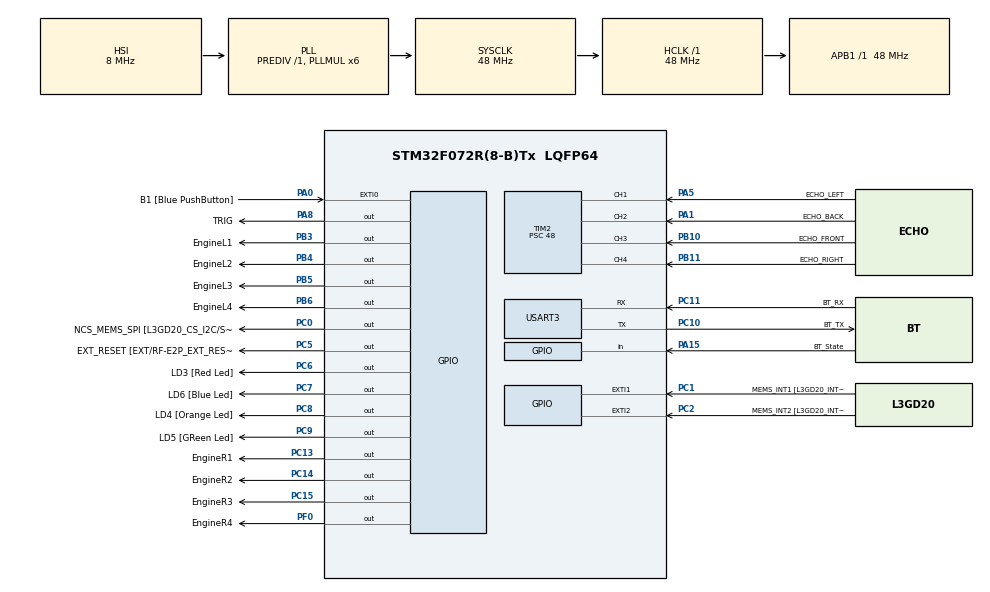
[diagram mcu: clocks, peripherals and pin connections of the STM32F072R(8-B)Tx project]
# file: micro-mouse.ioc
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Dma.Request0=USART3_TX
Dma.USART3_TX.0.Direction=DMA_MEMORY_TO_PERIPH
Dma.USART3_TX.0.Instance=DMA1_Channel2
Dma.USART3_TX.0.MemDataAlignment=DMA_MDATAALIGN_BYTE
Dma.USART3_TX.0.MemInc=DMA_MINC_ENABLE
Dma.USART3_TX.0.Mode=DMA_NORMAL
Dma.USART3_TX.0.PeriphDataAlignment=DMA_PDATAALIGN_BYTE
Dma.USART3_TX.0.PeriphInc=DMA_PINC_DISABLE
Dma.USART3_TX.0.Priority=DMA_PRIORITY_LOW
Mcu.Family=STM32F0
Mcu.Name=STM32F072R(8-B)Tx
Mcu.Package=LQFP64
NVIC.DMA1_Channel2_3_IRQn=true\:0\:0\:false\:false\:true\:false\:true
NVIC.TIM1_BRK_UP_TRG_COM_IRQn=true\:0\:0\:false\:false\:true\:true\:true
NVIC.TIM2_IRQn=true\:0\:0\:false\:false\:true\:true\:true
NVIC.USART3_4_IRQn=true\:0\:0\:false\:false\:true\:true\:true
PA0.GPIO_Label=B1 [Blue PushButton]
PA0.GPIO_ModeDefaultEXTI=GPIO_MODE_EVT_RISING
PA0.Signal=GPXTI0
PA1.GPIO_Label=ECHO_BACK
PA1.Signal=S_TIM2_CH2
PA11.GPIO_Label=USBF4_DM
PA11.Signal=USB_DM
PA12.GPIO_Label=USBF4_DP
PA12.Signal=USB_DP
PA13.GPIO_Label=SWDIO
PA13.Signal=SYS_SWDIO
PA14.GPIO_Label=SWCLK
PA14.Signal=SYS_SWCLK
PA15.GPIO_Label=BT_State
PA15.Signal=GPIO_Input
PA2.Signal=TSC_G1_IO3
PA3.Signal=TSC_G1_IO4
PA5.GPIO_Label=ECHO_LEFT
PA5.Signal=S_TIM2_CH1_ETR
PA6.Signal=TSC_G2_IO3
PA7.Signal=TSC_G2_IO4
PA8.GPIO_Label=TRIG
PA8.Signal=GPIO_Output
PB0.Signal=TSC_G3_IO2
PB1.Signal=TSC_G3_IO3
PB10.GPIO_Label=ECHO_FRONT
PB10.Signal=S_TIM2_CH3
PB11.GPIO_Label=ECHO_RIGHT
PB11.Signal=S_TIM2_CH4
PB13.GPIO_Label=SPI2_SCK [L3GD20_SCL/SPC]
PB13.Signal=SPI2_SCK
PB14.GPIO_Label=SPI2_MISO [L3GD20_SDO]
PB14.Signal=SPI2_MISO
PB15.GPIO_Label=SPI2_MOSI [L3GD20_SDA/SDI]
PB15.Signal=SPI2_MOSI
PB3.GPIO_Label=EngineL1
PB3.Signal=GPIO_Output
PB4.GPIO_Label=EngineL2
PB4.Signal=GPIO_Output
PB5.GPIO_Label=EngineL3
PB5.Signal=GPIO_Output
PB6.GPIO_Label=EngineL4
PB6.Signal=GPIO_Output
PC0.GPIO_Label=NCS_MEMS_SPI [L3GD20_CS_I2C/SPI]
PC0.Signal=GPIO_Output
PC1.GPIO_Label=MEMS_INT1 [L3GD20_INT1]
PC1.GPIO_ModeDefaultEXTI=GPIO_MODE_EVT_RISING
PC1.Signal=GPXTI1
PC10.GPIO_Label=BT_TX
PC10.Mode=Asynchronous
PC10.Signal=USART3_TX
PC11.GPIO_Label=BT_RX
PC11.Mode=Asynchronous
PC11.Signal=USART3_RX
PC13.GPIO_Label=EngineR1
PC13.Signal=GPIO_Output
PC14-OSC32_IN.GPIO_Label=EngineR2
PC14-OSC32_IN.Signal=GPIO_Output
PC15-OSC32_OUT.GPIO_Label=EngineR3
PC15-OSC32_OUT.Signal=GPIO_Output
PC2.GPIO_Label=MEMS_INT2 [L3GD20_INT2]
PC2.GPIO_ModeDefaultEXTI=GPIO_MODE_EVT_RISING
PC2.Signal=GPXTI2
PC5.GPIO_Label=EXT_RESET [EXT/RF-E2P_EXT_RESET]
PC5.Signal=GPIO_Output
PC6.GPIO_Label=LD3 [Red Led]
PC6.Signal=GPIO_Output
PC7.GPIO_Label=LD6 [Blue Led]
PC7.Signal=GPIO_Output
PC8.GPIO_Label=LD4 [Orange Led]
PC8.Signal=GPIO_Output
PC9.GPIO_Label=LD5 [GReen Led]
PC9.Signal=GPIO_Output
PF0-OSC_IN.GPIO_Label=EngineR4
PF0-OSC_IN.Signal=GPIO_Output
ProjectManager.HeapSize=0x200
ProjectManager.StackSize=0x400
ProjectManager.TargetToolchain=Other Toolchains (GPDSC)
RCC.AHBFreq_Value=48000000
RCC.APB1Freq_Value=48000000
RCC.APB1TimFreq_Value=48000000
RCC.HCLKFreq_Value=48000000
RCC.PLLMUL=RCC_PLL_MUL6
RCC.SYSCLKFreq_VALUE=48000000
RCC.SYSCLKSource=RCC_SYSCLKSOURCE_PLLCLK
SH.S_TIM2_CH1_ETR.0=TIM2_CH1,Input_Capture1_from_TI1
SH.S_TIM2_CH2.0=TIM2_CH2,Input_Capture2_from_TI2
SH.S_TIM2_CH3.0=TIM2_CH3,Input_Capture3_from_TI3
SH.S_TIM2_CH4.0=TIM2_CH4,Input_Capture4_from_TI4
TIM1.Channel-PWM\ Generation1\ CH1=TIM_CHANNEL_1
TIM2.Channel-Input_Capture1_from_TI1=TIM_CHANNEL_1
TIM2.Channel-Input_Capture2_from_TI2=TIM_CHANNEL_2
TIM2.Channel-Input_Capture3_from_TI3=TIM_CHANNEL_3
TIM2.Channel-Input_Capture4_from_TI4=TIM_CHANNEL_4
TIM2.Prescaler=48
USART3.VirtualMode-Asynchronous=VM_ASYNC
VP_TIM1_VS_ClockSourceINT.Mode=Internal
VP_TIM2_VS_ClockSourceINT.Mode=Internal
board=STM32F072B-DISCO

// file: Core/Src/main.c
/* USER CODE BEGIN Header */
/**
  ******************************************************************************
  * @file           : main.c
  * @brief          : Main program body
  ******************************************************************************
  * @attention
  *
  * <h2><center>&copy; Copyright (c) 2022 STMicroelectronics.
  * All rights reserved.</center></h2>
  *
  * This software component is licensed by ST under BSD 3-Clause license,
  * the "License"; You may not use this file except in compliance with the
  * License. You may obtain a copy of the License at:
  *                        opensource.org/licenses/BSD-3-Clause
  *
  ******************************************************************************
  */
/* USER CODE END Header */
#include "main.h"

/* USER CODE BEGIN Includes */
#include <Drivers/HCSR04.h>
/* USER CODE END Includes */

TIM_HandleTypeDef htim1;
TIM_HandleTypeDef htim2;

UART_HandleTypeDef huart3;
DMA_HandleTypeDef hdma_usart3_tx;

/* USER CODE BEGIN PV */
unsigned char uart_rx_buf[30] = "empty";
int rx_cnt = 0;
volatile uint8_t move = 0;
/* USER CODE END PV */

void SystemClock_Config(void);
static void MX_GPIO_Init(void);
static void MX_DMA_Init(void);
static void MX_TIM1_Init(void);
static void MX_USART3_UART_Init(void);
static void MX_TIM2_Init(void);

/* USER CODE BEGIN 0 */
int strcmp(char *str1, char *str2)
{
  int i=0;
  while ((str1[i] != 0) && (str2[i] != 0)) {
    if (str1[i] != str2[i])
      return 0;
    i++;
  }

  if (i!=0)
    return 1;
  if (str1[i] == str2[i])
    return 1;
  else
    return 0;
}

void process_uart(struct __UART_HandleTypeDef *huart)
{
  const int length_str = sizeof("You said: ");
  static unsigned char buf[50] = "You said: ";
  static int i = length_str;

  while (huart->Instance->ISR & USART_ISR_RXNE) {
    buf[i] = huart->Instance->RDR;
    i++;
  }

  if (buf[i-1] == '\r') {
    char* cmd_string = &buf[length_str];
    if (strcmp(cmd_string, "light")) {
      char* arg = cmd_string + sizeof("light");

      if (*arg == 0)
        HAL_GPIO_TogglePin(GPIOC, LD3_Pin | LD4_Pin | LD5_Pin | LD6_Pin);
      else if (strcmp(arg, "on"))
        HAL_GPIO_WritePin(GPIOC, LD3_Pin | LD4_Pin | LD5_Pin | LD6_Pin, 1);
      else if (strcmp(arg, "off"))
        HAL_GPIO_WritePin(GPIOC, LD3_Pin | LD4_Pin | LD5_Pin | LD6_Pin, 0);
    }
    else if (strcmp(cmd_string, "move")) {
      move = 1;
    }

    buf[i] = '\n';
    i++;
    buf[i] = '\r';
    i++;

    HAL_UART_Transmit(huart, buf, i, 1000);

    i = length_str;
    for (int j=i;j<sizeof(buf);j++)
      buf[j] = 0;
  }

  //HAL_UART_Transmit_DMA(huart, buf, sizeof(i));

}
/* USER CODE END 0 */

int main(void)
{

  /* MCU Configuration--------------------------------------------------------*/

  /* Reset of all peripherals, Initializes the Flash interface and the Systick. */
  HAL_Init();

  /* Configure the system clock */
  SystemClock_Config();

  /* Initialize all configured peripherals */
  MX_GPIO_Init();
  MX_DMA_Init();
  MX_TIM1_Init();
  MX_USART3_UART_Init();
  MX_TIM2_Init();
  /* USER CODE BEGIN 2 */
  __HAL_TIM_SET_PRESCALER(&htim1, SystemCoreClock / 1000000 - 1);
  __HAL_TIM_SetAutoreload(&htim1, 1500 - 1);
  HAL_TIM_Base_Start_IT(&htim1);
  huart3.RxISR = process_uart;

  unsigned char lfcr[] = "\n\r";
  unsigned char msg[] = "\n\rWall-E ready\n\r";
  HAL_UART_Transmit_DMA(&huart3, msg, sizeof(msg));

  HAL_TIM_Base_Start(&htim2);
  HCSR04_Init(&htim2);
  /* USER CODE END 2 */

  /* Infinite loop */
  /* USER CODE BEGIN WHILE */
  uint32_t distances[4];
  while (1)
  {
    /*if (move)
    {
      rotate(100000);
      move = 0;
    }*/
    HCSR04_Measure();
    HAL_Delay(500);
    HCSR04_Read(distances);
    /* USER CODE END WHILE */

  }
}

void SystemClock_Config(void)
{
  RCC_OscInitTypeDef RCC_OscInitStruct = {0};
  RCC_ClkInitTypeDef RCC_ClkInitStruct = {0};

  /** Initializes the RCC Oscillators according to the specified parameters
  * in the RCC_OscInitTypeDef structure.
  */
  RCC_OscInitStruct.OscillatorType = RCC_OSCILLATORTYPE_HSI;
  RCC_OscInitStruct.HSIState = RCC_HSI_ON;
  RCC_OscInitStruct.HSICalibrationValue = RCC_HSICALIBRATION_DEFAULT;
  RCC_OscInitStruct.PLL.PLLState = RCC_PLL_ON;
  RCC_OscInitStruct.PLL.PLLSource = RCC_PLLSOURCE_HSI;
  RCC_OscInitStruct.PLL.PLLMUL = RCC_PLL_MUL6;
  RCC_OscInitStruct.PLL.PREDIV = RCC_PREDIV_DIV1;
  if (HAL_RCC_OscConfig(&RCC_OscInitStruct) != HAL_OK)
  {
    Error_Handler();
  }
  /** Initializes the CPU, AHB and APB buses clocks
  */
  RCC_ClkInitStruct.ClockType = RCC_CLOCKTYPE_HCLK|RCC_CLOCKTYPE_SYSCLK
                              |RCC_CLOCKTYPE_PCLK1;
  RCC_ClkInitStruct.SYSCLKSource = RCC_SYSCLKSOURCE_PLLCLK;
  RCC_ClkInitStruct.AHBCLKDivider = RCC_SYSCLK_DIV1;
  RCC_ClkInitStruct.APB1CLKDivider = RCC_HCLK_DIV1;

  if (HAL_RCC_ClockConfig(&RCC_ClkInitStruct, FLASH_LATENCY_1) != HAL_OK)
  {
    Error_Handler();
  }
}

static void MX_TIM1_Init(void)
{

  TIM_ClockConfigTypeDef sClockSourceConfig = {0};
  TIM_MasterConfigTypeDef sMasterConfig = {0};

  htim1.Instance = TIM1;
  htim1.Init.Prescaler = 0;
  htim1.Init.CounterMode = TIM_COUNTERMODE_UP;
  htim1.Init.Period = 65535;
  htim1.Init.ClockDivision = TIM_CLOCKDIVISION_DIV1;
  htim1.Init.RepetitionCounter = 0;
  htim1.Init.AutoReloadPreload = TIM_AUTORELOAD_PRELOAD_DISABLE;
  if (HAL_TIM_Base_Init(&htim1) != HAL_OK)
  {
    Error_Handler();
  }
  sClockSourceConfig.ClockSource = TIM_CLOCKSOURCE_INTERNAL;
  if (HAL_TIM_ConfigClockSource(&htim1, &sClockSourceConfig) != HAL_OK)
  {
    Error_Handler();
  }
  sMasterConfig.MasterOutputTrigger = TIM_TRGO_RESET;
  sMasterConfig.MasterSlaveMode = TIM_MASTERSLAVEMODE_DISABLE;
  if (HAL_TIMEx_MasterConfigSynchronization(&htim1, &sMasterConfig) != HAL_OK)
  {
    Error_Handler();
  }

}

static void MX_TIM2_Init(void)
{

  TIM_ClockConfigTypeDef sClockSourceConfig = {0};
  TIM_MasterConfigTypeDef sMasterConfig = {0};
  TIM_IC_InitTypeDef sConfigIC = {0};

  htim2.Instance = TIM2;
  htim2.Init.Prescaler = 48;
  htim2.Init.CounterMode = TIM_COUNTERMODE_UP;
  htim2.Init.Period = 4294967295;
  htim2.Init.ClockDivision = TIM_CLOCKDIVISION_DIV1;
  htim2.Init.AutoReloadPreload = TIM_AUTORELOAD_PRELOAD_DISABLE;
  if (HAL_TIM_Base_Init(&htim2) != HAL_OK)
  {
    Error_Handler();
  }
  sClockSourceConfig.ClockSource = TIM_CLOCKSOURCE_INTERNAL;
  if (HAL_TIM_ConfigClockSource(&htim2, &sClockSourceConfig) != HAL_OK)
  {
    Error_Handler();
  }
  if (HAL_TIM_IC_Init(&htim2) != HAL_OK)
  {
    Error_Handler();
  }
  sMasterConfig.MasterOutputTrigger = TIM_TRGO_RESET;
  sMasterConfig.MasterSlaveMode = TIM_MASTERSLAVEMODE_DISABLE;
  if (HAL_TIMEx_MasterConfigSynchronization(&htim2, &sMasterConfig) != HAL_OK)
  {
    Error_Handler();
  }
  sConfigIC.ICPolarity = TIM_INPUTCHANNELPOLARITY_RISING;
  sConfigIC.ICSelection = TIM_ICSELECTION_DIRECTTI;
  sConfigIC.ICPrescaler = TIM_ICPSC_DIV1;
  sConfigIC.ICFilter = 0;
  if (HAL_TIM_IC_ConfigChannel(&htim2, &sConfigIC, TIM_CHANNEL_1) != HAL_OK)
  {
    Error_Handler();
  }
  if (HAL_TIM_IC_ConfigChannel(&htim2, &sConfigIC, TIM_CHANNEL_2) != HAL_OK)
  {
    Error_Handler();
  }
  if (HAL_TIM_IC_ConfigChannel(&htim2, &sConfigIC, TIM_CHANNEL_3) != HAL_OK)
  {
    Error_Handler();
  }
  if (HAL_TIM_IC_ConfigChannel(&htim2, &sConfigIC, TIM_CHANNEL_4) != HAL_OK)
  {
    Error_Handler();
  }

}

static void MX_USART3_UART_Init(void)
{

  huart3.Instance = USART3;
  huart3.Init.BaudRate = 38400;
  huart3.Init.WordLength = UART_WORDLENGTH_8B;
  huart3.Init.StopBits = UART_STOPBITS_1;
  huart3.Init.Parity = UART_PARITY_NONE;
  huart3.Init.Mode = UART_MODE_TX_RX;
  huart3.Init.HwFlowCtl = UART_HWCONTROL_NONE;
  huart3.Init.OverSampling = UART_OVERSAMPLING_16;
  huart3.Init.OneBitSampling = UART_ONE_BIT_SAMPLE_DISABLE;
  huart3.AdvancedInit.AdvFeatureInit = UART_ADVFEATURE_NO_INIT;
  if (HAL_UART_Init(&huart3) != HAL_OK)
  {
    Error_Handler();
  }
  /* USER CODE BEGIN USART3_Init 2 */
  unsigned int trigger_char = 0x0D; // carriage return
  CLEAR_BIT(huart3.Instance->CR1, USART_CR1_UE); // Reception must be disabled to set ADD bits
  SET_BIT(huart3.Instance->CR2, USART_CR2_ADDM7); // Set Address detection to 7bit
  huart3.Instance->CR2 |= trigger_char << USART_CR2_ADD_Pos;
  SET_BIT(huart3.Instance->CR1, USART_CR1_UE); // And enable Reception again
  SET_BIT(huart3.Instance->CR1, USART_CR1_CMIE); // Interrupt on trigger_char
  SET_BIT(huart3.Instance->CR1, USART_CR1_RXNEIE); // Interrupt on Reception
  /* USER CODE END USART3_Init 2 */

}

static void MX_DMA_Init(void)
{

  /* DMA controller clock enable */
  __HAL_RCC_DMA1_CLK_ENABLE();

  /* DMA interrupt init */
  /* DMA1_Channel2_3_IRQn interrupt configuration */
  HAL_NVIC_SetPriority(DMA1_Channel2_3_IRQn, 0, 0);
  HAL_NVIC_EnableIRQ(DMA1_Channel2_3_IRQn);

}

static void MX_GPIO_Init(void)
{
  GPIO_InitTypeDef GPIO_InitStruct = {0};

  /* GPIO Ports Clock Enable */
  __HAL_RCC_GPIOC_CLK_ENABLE();
  __HAL_RCC_GPIOF_CLK_ENABLE();
  __HAL_RCC_GPIOA_CLK_ENABLE();
  __HAL_RCC_GPIOB_CLK_ENABLE();

  /*Configure GPIO pin Output Level */
  HAL_GPIO_WritePin(GPIOC, EngineR1_Pin|EngineR2_Pin|EngineR3_Pin|NCS_MEMS_SPI_Pin
                          |EXT_RESET_Pin|LD3_Pin|LD6_Pin|LD4_Pin
                          |LD5_Pin, GPIO_PIN_RESET);

  /*Configure GPIO pin Output Level */
  HAL_GPIO_WritePin(EngineR4_GPIO_Port, EngineR4_Pin, GPIO_PIN_RESET);

  /*Configure GPIO pin Output Level */
  HAL_GPIO_WritePin(TRIG_GPIO_Port, TRIG_Pin, GPIO_PIN_RESET);

  /*Configure GPIO pin Output Level */
  HAL_GPIO_WritePin(GPIOB, EngineL1_Pin|EngineL2_Pin|EngineL3_Pin|EngineL4_Pin, GPIO_PIN_RESET);

  /*Configure GPIO pins : EngineR1_Pin EngineR2_Pin EngineR3_Pin NCS_MEMS_SPI_Pin
                           EXT_RESET_Pin LD3_Pin LD6_Pin LD4_Pin
                           LD5_Pin */
  GPIO_InitStruct.Pin = EngineR1_Pin|EngineR2_Pin|EngineR3_Pin|NCS_MEMS_SPI_Pin
                          |EXT_RESET_Pin|LD3_Pin|LD6_Pin|LD4_Pin
                          |LD5_Pin;
  GPIO_InitStruct.Mode = GPIO_MODE_OUTPUT_PP;
  GPIO_InitStruct.Pull = GPIO_NOPULL;
  GPIO_InitStruct.Speed = GPIO_SPEED_FREQ_LOW;
  HAL_GPIO_Init(GPIOC, &GPIO_InitStruct);

  /*Configure GPIO pin : EngineR4_Pin */
  GPIO_InitStruct.Pin = EngineR4_Pin;
  GPIO_InitStruct.Mode = GPIO_MODE_OUTPUT_PP;
  GPIO_InitStruct.Pull = GPIO_NOPULL;
  GPIO_InitStruct.Speed = GPIO_SPEED_FREQ_LOW;
  HAL_GPIO_Init(EngineR4_GPIO_Port, &GPIO_InitStruct);

  /*Configure GPIO pins : MEMS_INT1_Pin MEMS_INT2_Pin */
  GPIO_InitStruct.Pin = MEMS_INT1_Pin|MEMS_INT2_Pin;
  GPIO_InitStruct.Mode = GPIO_MODE_EVT_RISING;
  GPIO_InitStruct.Pull = GPIO_NOPULL;
  HAL_GPIO_Init(GPIOC, &GPIO_InitStruct);

  /*Configure GPIO pin : B1_Pin */
  GPIO_InitStruct.Pin = B1_Pin;
  GPIO_InitStruct.Mode = GPIO_MODE_EVT_RISING;
  GPIO_InitStruct.Pull = GPIO_NOPULL;
  HAL_GPIO_Init(B1_GPIO_Port, &GPIO_InitStruct);

  /*Configure GPIO pins : PA2 PA3 PA6 PA7 */
  GPIO_InitStruct.Pin = GPIO_PIN_2|GPIO_PIN_3|GPIO_PIN_6|GPIO_PIN_7;
  GPIO_InitStruct.Mode = GPIO_MODE_AF_PP;
  GPIO_InitStruct.Pull = GPIO_NOPULL;
  GPIO_InitStruct.Speed = GPIO_SPEED_FREQ_LOW;
  GPIO_InitStruct.Alternate = GPIO_AF3_TSC;
  HAL_GPIO_Init(GPIOA, &GPIO_InitStruct);

  /*Configure GPIO pins : PB0 PB1 */
  GPIO_InitStruct.Pin = GPIO_PIN_0|GPIO_PIN_1;
  GPIO_InitStruct.Mode = GPIO_MODE_AF_PP;
  GPIO_InitStruct.Pull = GPIO_NOPULL;
  GPIO_InitStruct.Speed = GPIO_SPEED_FREQ_LOW;
  GPIO_InitStruct.Alternate = GPIO_AF3_TSC;
  HAL_GPIO_Init(GPIOB, &GPIO_InitStruct);

  /*Configure GPIO pins : SPI2_SCK_Pin SPI2_MISO_Pin SPI2_MOSI_Pin */
  GPIO_InitStruct.Pin = SPI2_SCK_Pin|SPI2_MISO_Pin|SPI2_MOSI_Pin;
  GPIO_InitStruct.Mode = GPIO_MODE_AF_PP;
  GPIO_InitStruct.Pull = GPIO_NOPULL;
  GPIO_InitStruct.Speed = GPIO_SPEED_FREQ_HIGH;
  GPIO_InitStruct.Alternate = GPIO_AF0_SPI2;
  HAL_GPIO_Init(GPIOB, &GPIO_InitStruct);

  /*Configure GPIO pin : TRIG_Pin */
  GPIO_InitStruct.Pin = TRIG_Pin;
  GPIO_InitStruct.Mode = GPIO_MODE_OUTPUT_PP;
  GPIO_InitStruct.Pull = GPIO_NOPULL;
  GPIO_InitStruct.Speed = GPIO_SPEED_FREQ_LOW;
  HAL_GPIO_Init(TRIG_GPIO_Port, &GPIO_InitStruct);

  /*Configure GPIO pin : BT_State_Pin */
  GPIO_InitStruct.Pin = BT_State_Pin;
  GPIO_InitStruct.Mode = GPIO_MODE_INPUT;
  GPIO_InitStruct.Pull = GPIO_NOPULL;
  HAL_GPIO_Init(BT_State_GPIO_Port, &GPIO_InitStruct);

  /*Configure GPIO pins : EngineL1_Pin EngineL2_Pin EngineL3_Pin EngineL4_Pin */
  GPIO_InitStruct.Pin = EngineL1_Pin|EngineL2_Pin|EngineL3_Pin|EngineL4_Pin;
  GPIO_InitStruct.Mode = GPIO_MODE_OUTPUT_PP;
  GPIO_InitStruct.Pull = GPIO_NOPULL;
  GPIO_InitStruct.Speed = GPIO_SPEED_FREQ_LOW;
  HAL_GPIO_Init(GPIOB, &GPIO_InitStruct);

}

void Error_Handler(void)
{
  __disable_irq();
  while (1)
  {
  }
}

/************************ (C) COPYRIGHT STMicroelectronics *****END OF FILE****/
